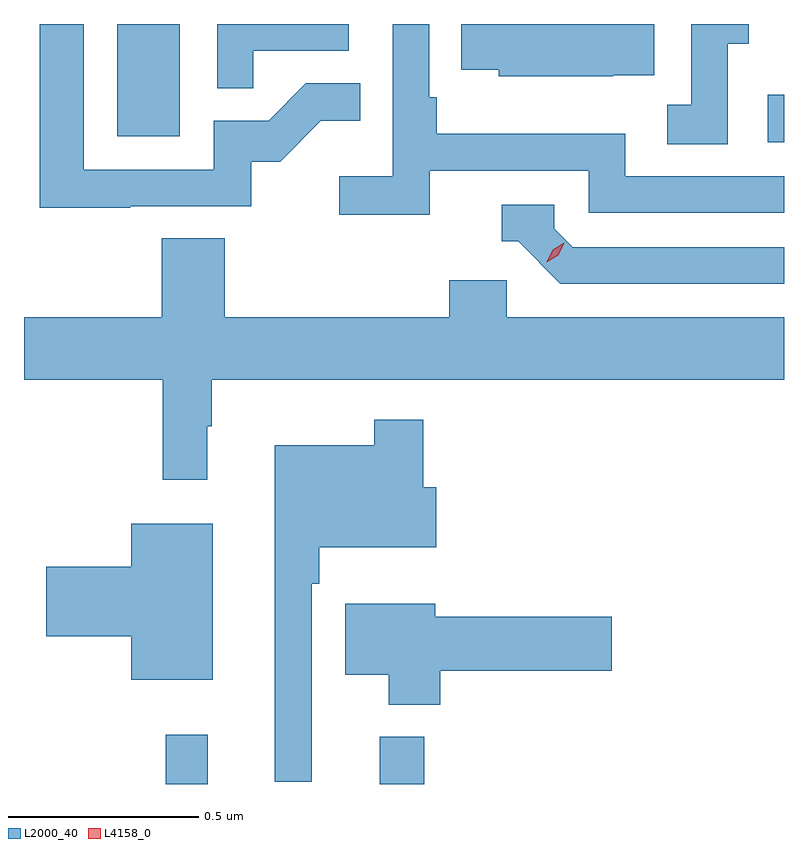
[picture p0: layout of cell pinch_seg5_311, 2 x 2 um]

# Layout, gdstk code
import gdstk
lib = gdstk.Library(unit=1e-6, precision=1e-09)
def R(c, l, rs):  # rectangles x0, y0, x1, y1
    for r in rs: c.add(gdstk.rectangle(r[:2], r[2:], *l))
def P(c, l, *ps):  # polygons
    for p in ps: c.add(gdstk.Polygon(p, *l))
L2000_40 = (2000, 40)
L4158_0 = (4158, 0)

pinch_seg5_311 = lib.new_cell('pinch_seg5_311')
R(pinch_seg5_311, L2000_40, [(888.279,886.332,888.389,886.462), (888.842,886.332,888.959,886.456), (889.863,888.021,889.906,888.146), (888.152,888.036,888.316,888.332)])
P(pinch_seg5_311, L2000_40, [(889.758,888.28),(889.813,888.28),(889.813,888.332),(889.662,888.332),(889.662,888.119),(889.599,888.119),(889.599,888.016),(889.758,888.016)],
  [(888.185,887.853),(888.504,887.853),(888.504,887.97),(888.58,887.97),(888.687,888.077),(888.791,888.077),(888.791,888.176),(888.648,888.176),(888.55,888.078),(888.405,888.078),(888.405,887.949),(888.063,887.949),(888.063,888.332),(887.947,888.332),(887.947,887.848),(888.185,887.848)],
  [(888.509,888.261),(888.76,888.261),(888.76,888.332),(888.414,888.332),(888.414,888.163),(888.509,888.163)],
  [(888.974,887.946),(889.392,887.946),(889.392,887.835),(889.906,887.835),(889.906,887.931),(889.488,887.931),(889.488,888.043),(888.992,888.043),(888.992,888.139),(888.972,888.139),(888.972,888.332),(888.876,888.332),(888.876,887.932),(888.735,887.932),(888.735,887.83),(888.974,887.83)],
  [(889.457,888.197),(889.565,888.197),(889.565,888.332),(889.057,888.332),(889.057,888.212),(889.155,888.212),(889.155,888.194),(889.457,888.194)],
  [(889.906,887.745),(889.35,887.745),(889.302,887.793),(889.302,887.856),(889.163,887.856),(889.163,887.76),(889.206,887.76),(889.317,887.649),(889.906,887.649)],
  [(888.388,887.273),(888.4,887.273),(888.4,887.396),(889.906,887.396),(889.906,887.56),(889.176,887.56),(889.176,887.658),(889.025,887.658),(889.025,887.56),(888.434,887.56),(888.434,887.768),(888.269,887.768),(888.269,887.56),(887.906,887.56),(887.906,887.396),(888.271,887.396),(888.271,887.133),(888.388,887.133)],
  [(888.663,886.859),(888.683,886.859),(888.683,886.955),(888.991,886.955),(888.991,887.113),(888.956,887.113),(888.956,887.29),(888.828,887.29),(888.828,887.224),(888.566,887.224),(888.566,886.338),(888.663,886.338)],
  [(888.403,887.017),(888.188,887.017),(888.188,886.904),(887.964,886.904),(887.964,886.721),(888.188,886.721),(888.188,886.607),(888.403,886.607)],
  [(889.001,886.63),(889.453,886.63),(889.453,886.772),(888.988,886.772),(888.988,886.807),(888.752,886.807),(888.752,886.619),(888.866,886.619),(888.866,886.541),(889.001,886.541)])
P(pinch_seg5_311, L4158_0, [(889.281,887.705),(889.281,887.705),(889.297,887.738),(889.328,887.757),(889.328,887.757),(889.328,887.757),(889.312,887.724),(889.282,887.705)])

lib.write_gds('pinch_seg5_311.gds')
